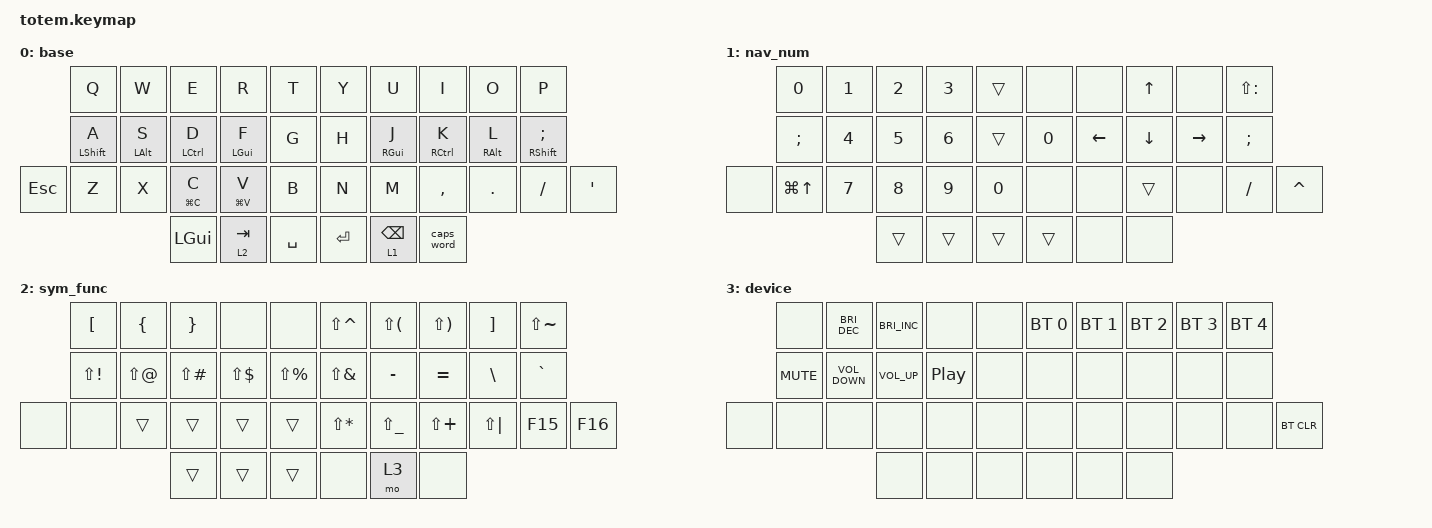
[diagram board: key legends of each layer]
//
//                                                        ▀▀▀▀▀     ▀▀▀▀▀          ▀▀█▀▀
//                                                        ▄▀▀▀▄  ▄  ▄▀▀▀▄  ▄  ▄▀▀▀▄  █  ▄▀▀▀▄
//                                                        █   █  █  █   █  █  █   █  █  █   █
//                                                         ▀▀▀   █   ▀▀▀   █   ▀▀▀   ▀   ▀▀▀
//                                                               █      ▄▄▄█▄▄▄    █   █  
//                                                               ▀      █  █  █     █▄█
//                                                             ▀▀▀▀▀    █  █  █      ▀
//                                                                      ▀  ▀  ▀
//
// ▄▄▄▄▄▄▄▄▄▄▄▄▄▄▄▄▄▄▄▄▄▄▄▄▄▄▄▄▄▄▄▄▄▄▄▄▄▄▄▄▄▄▄▄▄▄▄▄▄▄▄▄▄▄▄▄▄▄▄▄▄▄▄▄▄▄▄▄▄▄▄▄▄▄▄▄▄▄▄▄▄▄▄▄▄▄▄▄▄▄▄▄▄▄▄▄▄▄▄▄▄▄▄▄▄▄▄▄▄▄▄▄▄▄▄▄▄▄▄▄▄▄▄▄▄▄▄▄▄▄▄▄▄▄▄▄▄▄▄▄▄▄▄▄▄▄▄▄▄

#include <behaviors.dtsi>
#include <dt-bindings/zmk/bt.h>
#include <dt-bindings/zmk/keys.h>

/ {
    behaviors {
        HM_ShiftR: HM_ShiftR {
            compatible = "zmk,behavior-hold-tap";
            label = "HM_SHIFTR";
            bindings = <&kp>, <&kp>;

            #binding-cells = <2>;
            flavor = "balanced";
            tapping-term-ms = <280>;
            hold-trigger-key-positions = <0 1 2 3 4 10 11 12 13 14 20 21 22 23 24 25 32 33 34>;
            hold-trigger-on-release;
            quick-tap-ms = <175>;
            require-prior-idle-ms = <150>;
        };

        HM_ShiftL: HM_ShiftL {
            compatible = "zmk,behavior-hold-tap";
            label = "HM_SHIFTL";
            bindings = <&kp>, <&kp>;

            #binding-cells = <2>;
            tapping-term-ms = <280>;
            hold-trigger-on-release;
            hold-trigger-key-positions = <5 6 7 8 9 15 16 17 18 19 26 27 28 29 30 31 35 36 37>;
            quick-tap-ms = <175>;
            require-prior-idle-ms = <150>;
            flavor = "balanced";
        };

        longpress: longpress {
            compatible = "zmk,behavior-hold-tap";
            label = "LONGPRESS";
            bindings = <&kp>, <&kp>;

            #binding-cells = <2>;
            tapping-term-ms = <280>;
            flavor = "tap-preferred";
            require-prior-idle-ms = <150>;
            quick-tap-ms = <175>;
        };
    };

    combos {
        compatible = "zmk,combos";

        sc {
            bindings = <&kp LS(LG(LC(NUMBER_4)))>;
            key-positions = <32 33 34>;
        };
    };

    keymap {
        compatible = "zmk,keymap";

        base {
            bindings = <
         &kp Q                    &kp W                  &kp E                      &kp R                  &kp T        &kp Y      &kp U                   &kp I                       &kp O                   &kp P
         &HM_ShiftL LEFT_SHIFT A  &HM_ShiftL LEFT_ALT S  &HM_ShiftL LEFT_CONTROL D  &HM_ShiftL LEFT_GUI F  &kp G        &kp H      &HM_ShiftR RIGHT_GUI J  &HM_ShiftR RIGHT_CONTROL K  &HM_ShiftR RIGHT_ALT L  &HM_ShiftR RIGHT_SHIFT SEMI
&kp ESC  &kp Z                    &kp X                  &longpress LG(C) C         &longpress LG(V) V     &kp B        &kp N      &kp M                   &kp COMMA                   &kp DOT                 &kp FSLH                     &kp APOS
                                                         &kp LGUI                   &lt 2 TAB              &kp SPACE    &kp ENTER  &lt 1 BACKSPACE         &caps_word
            >;
        };

        nav_num {
            bindings = <
       &kp NUMBER_0      &kp N1  &kp N2  &kp N3  &trans    &none   &none     &kp UP_ARROW  &none      &kp LS(COLON)
       &kp SEMI          &kp N4  &kp N5  &kp N6  &trans    &kp N0  &kp LEFT  &kp DOWN      &kp RIGHT  &kp SEMI
&none  &kp LG(UP_ARROW)  &kp N7  &kp N8  &kp N9  &kp N0    &none   &none     &trans        &none      &kp FSLH       &kp CARET
                                 &trans  &trans  &trans    &trans  &none     &none
            >;
        };

        sym_func {
            bindings = <
       &kp LBKT      &kp LEFT_BRACE  &kp RIGHT_BRACE  &none         &none            &kp LS(CARET)  &kp LS(LPAR)   &kp LS(RPAR)  &kp RBKT      &kp LS(TILDE)
       &kp LS(EXCL)  &kp LS(AT)      &kp LS(POUND)    &kp LS(DLLR)  &kp LS(PRCNT)    &kp LS(AMPS)   &kp MINUS      &kp EQUAL     &kp BSLH      &kp GRAVE
&none  &none         &trans          &trans           &trans        &trans           &kp LS(STAR)   &kp LS(UNDER)  &kp LS(PLUS)  &kp LS(PIPE)  &kp F15        &kp F16
                                     &trans           &trans        &trans           &none          &mo 3          &none
            >;
        };

        device {
            bindings = <
       &none       &kp C_BRIGHTNESS_DEC  &kp C_BRIGHTNESS_INC  &none             &none    &bt BT_SEL 0  &bt BT_SEL 1  &bt BT_SEL 2  &bt BT_SEL 3  &bt BT_SEL 4
       &kp K_MUTE  &kp C_VOLUME_DOWN     &kp C_VOLUME_UP       &kp C_PLAY_PAUSE  &none    &none         &none         &none         &none         &none
&none  &none       &none                 &none                 &none             &none    &none         &none         &none         &none         &none         &bt BT_CLR
                                         &none                 &none             &none    &none         &none         &none
            >;
        };
    };

    conditional_layers {
        compatible = "zmk,conditional-layers";

        device {
            if-layers = <1 2>;
            then-layer = <3>;
        };
    };
};
